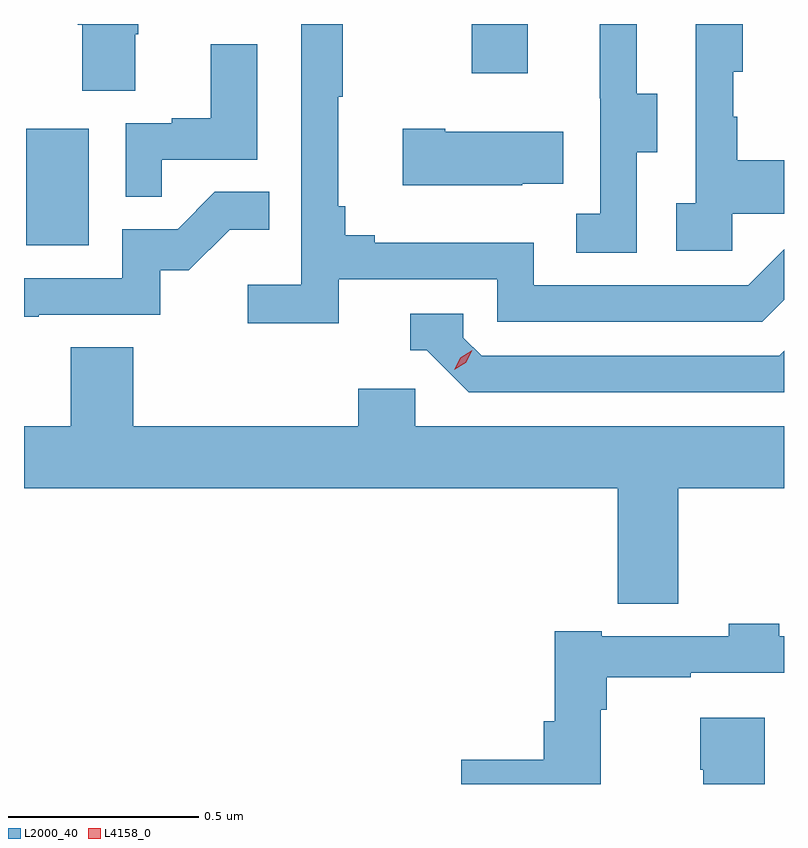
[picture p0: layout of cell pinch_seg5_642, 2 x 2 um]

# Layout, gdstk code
import gdstk
lib = gdstk.Library(unit=1e-6, precision=1e-09)
def R(c, l, rs):  # rectangles x0, y0, x1, y1
    for r in rs: c.add(gdstk.rectangle(r[:2], r[2:], *l))
def P(c, l, *ps):  # polygons
    for p in ps: c.add(gdstk.Polygon(p, *l))
L2000_40 = (2000, 40)
L4158_0 = (4158, 0)

pinch_seg5_642 = lib.new_cell('pinch_seg5_642')
R(pinch_seg5_642, L2000_40, [(1066.64,864.06,1066.804,864.367), (1067.812,864.513,1067.959,864.642)])
P(pinch_seg5_642, L2000_40, [(1068.246,864.304),(1068.301,864.304),(1068.301,864.459),(1068.247,864.459),(1068.247,864.642),(1068.149,864.642),(1068.149,864.447),(1068.15,864.447),(1068.15,864.143),(1068.087,864.143),(1068.087,864.04),(1068.246,864.04)],
  [(1068.498,864.143),(1068.634,864.143),(1068.634,864.283),(1068.511,864.283),(1068.511,864.398),(1068.501,864.398),(1068.501,864.516),(1068.526,864.516),(1068.526,864.642),(1068.402,864.642),(1068.402,864.17),(1068.351,864.17),(1068.351,864.045),(1068.498,864.045)],
  [(1066.927,864.615),(1066.935,864.615),(1066.935,864.642),(1066.775,864.642),(1066.775,864.64),(1066.787,864.64),(1066.787,864.466),(1066.927,864.466)],
  [(1067.462,863.97),(1067.88,863.97),(1067.88,863.859),(1068.577,863.859),(1068.634,863.916),(1068.634,864.049),(1068.54,863.955),(1067.976,863.955),(1067.976,864.067),(1067.557,864.067),(1067.557,864.086),(1067.48,864.086),(1067.48,864.163),(1067.461,864.163),(1067.461,864.451),(1067.473,864.451),(1067.473,864.642),(1067.364,864.642),(1067.364,863.956),(1067.223,863.956),(1067.223,863.854),(1067.462,863.854)],
  [(1066.997,864.285),(1067.248,864.285),(1067.248,864.589),(1067.126,864.589),(1067.126,864.394),(1067.023,864.394),(1067.023,864.381),(1066.902,864.381),(1066.902,864.187),(1066.997,864.187)],
  [(1067.945,864.221),(1068.053,864.221),(1068.053,864.358),(1067.743,864.358),(1067.743,864.366),(1067.631,864.366),(1067.631,864.218),(1067.945,864.218)],
  [(1066.673,863.877),(1066.992,863.877),(1066.992,863.994),(1067.068,863.994),(1067.175,864.101),(1067.279,864.101),(1067.279,864.2),(1067.136,864.2),(1067.038,864.102),(1066.893,864.102),(1066.893,863.973),(1066.634,863.973),(1066.634,863.872),(1066.673,863.872)],
  [(1068.634,863.782),(1068.621,863.769),(1067.838,863.769),(1067.79,863.817),(1067.79,863.88),(1067.651,863.88),(1067.651,863.784),(1067.694,863.784),(1067.805,863.673),(1068.634,863.673)],
  [(1068.356,863.42),(1068.634,863.42),(1068.634,863.584),(1067.664,863.584),(1067.664,863.682),(1067.513,863.682),(1067.513,863.584),(1066.922,863.584),(1066.922,863.792),(1066.757,863.792),(1066.757,863.584),(1066.634,863.584),(1066.634,863.42),(1068.197,863.42),(1068.197,863.116),(1068.356,863.116)],
  [(1068.152,862.838),(1068.167,862.838),(1068.167,862.923),(1068.389,862.923),(1068.389,862.935),(1068.634,862.935),(1068.634,863.031),(1068.621,863.031),(1068.621,863.064),(1068.489,863.064),(1068.489,863.031),(1068.154,863.031),(1068.154,863.044),(1068.031,863.044),(1068.031,862.807),(1068.002,862.807),(1068.002,862.706),(1067.784,862.706),(1067.784,862.642),(1068.152,862.642)],
  [(1068.583,862.816),(1068.413,862.816),(1068.413,862.68),(1068.422,862.68),(1068.422,862.642),(1068.583,862.642)])
P(pinch_seg5_642, L4158_0, [(1067.766,863.732),(1067.766,863.732),(1067.782,863.764),(1067.813,863.784),(1067.814,863.784),(1067.814,863.783),(1067.797,863.751),(1067.766,863.732)])

lib.write_gds('pinch_seg5_642.gds')
